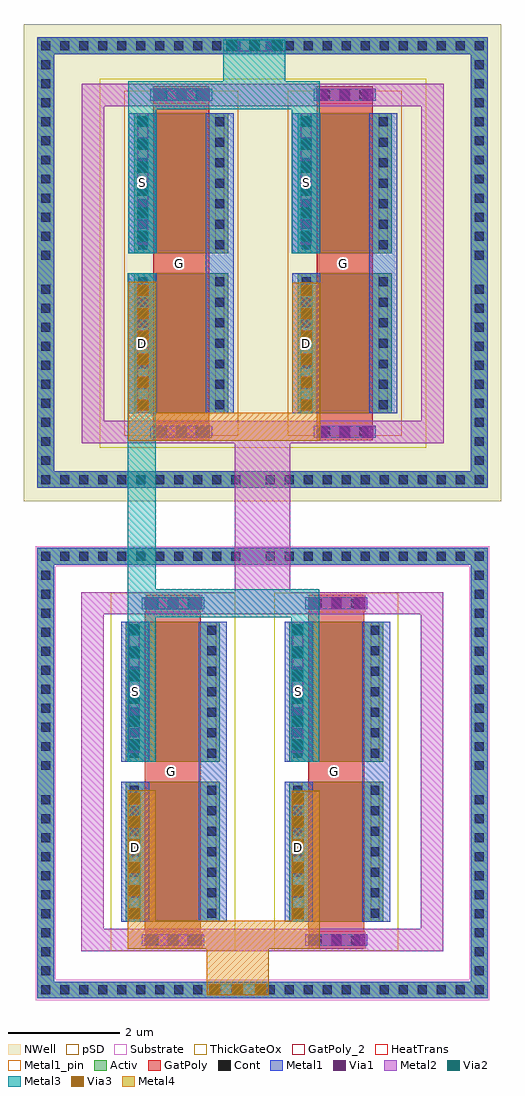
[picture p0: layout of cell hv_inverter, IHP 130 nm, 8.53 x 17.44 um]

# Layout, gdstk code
from math import pi, radians
import gdstk
lib = gdstk.Library(unit=1e-6, precision=1e-09)
def R(c, l, rs):  # rectangles x0, y0, x1, y1
    for r in rs: c.add(gdstk.rectangle(r[:2], r[2:], *l))
def A(c, l, x, y, w, h, nx, ny, dx, dy):  # array of equal rectangles
    R(c, l, [(x+i*dx, y+j*dy, x+i*dx+w, y+j*dy+h) for i in range(nx) for j in range(ny)])
def P(c, l, *ps):  # polygons
    for p in ps: c.add(gdstk.Polygon(p, *l))
Activ = (1, 0)
GatPoly = (5, 0)
GatPoly_2 = (5, 2)
Cont = (6, 0)
Metal1 = (8, 0)
Metal1_pin = (8, 2)
Metal2 = (10, 0)
pSD = (14, 0)
Via1 = (19, 0)
Via2 = (29, 0)
Metal3 = (30, 0)
NWell = (31, 0)
Substrate = (40, 0)
ThickGateOx = (44, 0)
Via3 = (49, 0)
Metal4 = (50, 0)
HeatTrans = (51, 0)

nmoshv = lib.new_cell('nmosHV')
R(nmoshv, Activ, [(0,0,0.3,0.3), (0,0,1.68,2.5), (1.38,0,1.68,0.3)])
R(nmoshv, GatPoly, [(0.34,-0.18,1.34,2.68)])
R(nmoshv, GatPoly_2, [(0.34,-0.18,1.34,2.68)])
A(nmoshv, Cont, 0.07, 0.07, 0.16, 0.16, 1, 3, 0, 0.365)
A(nmoshv, Cont, 1.45, 0.07, 0.16, 0.16, 1, 3, 0, 0.365)
A(nmoshv, Cont, 0.07, 1.17, 0.16, 0.16, 1, 3, 0, 0.365)
A(nmoshv, Cont, 1.45, 1.17, 0.16, 0.16, 1, 3, 0, 0.365)
R(nmoshv, Cont, [(0.07,2.27,0.23,2.43), (1.45,2.27,1.61,2.43)])
R(nmoshv, Metal1, [(0.07,0,0.23,2.5), (1.45,0,1.61,2.5)])
R(nmoshv, Metal1_pin, [(0.07,0,0.23,2.5), (1.45,0,1.61,2.5)])
R(nmoshv, ThickGateOx, [(-0.27,-0.52,1.95,3.02)])
R(nmoshv, HeatTrans, [(0.34,-0.18,1.34,2.68)])
nmoshv.add(gdstk.Label('nmosHV', (0.84,1.25), layer=63, texttype=0))
nmoshv.add(gdstk.Label('nmosHV', (0.84,1.25), layer=51, texttype=0))

guard_ring_4 = lib.new_cell('guard_ring$4')
R(guard_ring_4, Activ, [(-4.025,-3.725,-3.725,3.725), (3.725,-3.725,4.025,3.725), (-4.025,3.725,4.025,4.025)])
P(guard_ring_4, Activ, [(-4.025,-4.025),(-4.025,3.725),(-3.725,3.725),(-3.725,-3.725),(3.725,-3.725),(3.725,3.725),(-4.025,3.725),(-4.025,4.025),(4.025,4.025),(4.025,-4.025)])
A(guard_ring_4, Cont, -3.955, -3.955, 0.16, 0.16, 11, 2, 0.34, 7.75)
A(guard_ring_4, Cont, 0.055, -3.955, 0.16, 0.16, 12, 2, 0.34, 7.75)
A(guard_ring_4, Cont, -3.955, -3.615, 0.16, 0.16, 1, 10, 0, 0.34)
A(guard_ring_4, Cont, 3.795, -3.615, 0.16, 0.16, 1, 10, 0, 0.34)
A(guard_ring_4, Cont, -3.955, 0.055, 0.16, 0.16, 1, 11, 0, 0.34)
A(guard_ring_4, Cont, 3.795, 0.055, 0.16, 0.16, 1, 11, 0, 0.34)
R(guard_ring_4, Metal1, [(-4.025,-4.025,4.025,-3.725), (-4.025,-3.725,-3.725,3.725), (3.725,-3.725,4.025,3.725), (-4.025,3.725,4.025,4.025)])
R(guard_ring_4, NWell, [(-4.265,-4.265,4.265,4.265)])
guard_ring_4.add(gdstk.Label('well', (0,-3.875), layer=63, texttype=0))

guard_ring_5 = lib.new_cell('guard_ring$5')
R(guard_ring_5, Activ, [(-4.025,-3.725,-3.725,3.725), (3.725,-3.725,4.025,3.725), (-4.025,3.725,4.025,4.025)])
P(guard_ring_5, Activ, [(-4.025,-4.025),(-4.025,3.725),(-3.725,3.725),(-3.725,-3.725),(3.725,-3.725),(3.725,3.725),(-4.025,3.725),(-4.025,4.025),(4.025,4.025),(4.025,-4.025)])
A(guard_ring_5, Cont, -3.955, -3.955, 0.16, 0.16, 11, 2, 0.34, 7.75)
A(guard_ring_5, Cont, 0.055, -3.955, 0.16, 0.16, 12, 2, 0.34, 7.75)
A(guard_ring_5, Cont, -3.955, -3.615, 0.16, 0.16, 1, 10, 0, 0.34)
A(guard_ring_5, Cont, 3.795, -3.615, 0.16, 0.16, 1, 10, 0, 0.34)
A(guard_ring_5, Cont, -3.955, 0.055, 0.16, 0.16, 1, 11, 0, 0.34)
A(guard_ring_5, Cont, 3.795, 0.055, 0.16, 0.16, 1, 11, 0, 0.34)
R(guard_ring_5, Metal1, [(-4.025,-4.025,4.025,-3.725), (-4.025,-3.725,-3.725,3.725), (3.725,-3.725,4.025,3.725), (-4.025,3.725,4.025,4.025)])
R(guard_ring_5, pSD, [(-4.055,-3.695,-3.695,3.695), (3.695,-3.695,4.055,3.695), (-4.055,3.695,4.055,4.055)])
P(guard_ring_5, pSD, [(-4.055,-4.055),(-4.055,3.695),(-3.695,3.695),(-3.695,-3.695),(3.695,-3.695),(3.695,3.695),(-4.055,3.695),(-4.055,4.055),(4.055,4.055),(4.055,-4.055)])
R(guard_ring_5, Substrate, [(-4.055,-3.695,-3.695,3.695), (3.695,-3.695,4.055,3.695), (-4.055,3.695,4.055,4.055)])
P(guard_ring_5, Substrate, [(-4.055,-4.055),(-4.055,3.695),(-3.695,3.695),(-3.695,-3.695),(3.695,-3.695),(3.695,3.695),(-4.055,3.695),(-4.055,4.055),(4.055,4.055),(4.055,-4.055)])
guard_ring_5.add(gdstk.Label('sub!', (0,-3.875), layer=63, texttype=0))

via_stack_11 = lib.new_cell('via_stack$11')
R(via_stack_11, Metal1, [(-0.555,-0.105,0.555,0.105)])
R(via_stack_11, Metal2, [(-0.555,-0.1,0.555,0.1)])
A(via_stack_11, Via1, -0.505, -0.095, 0.19, 0.19, 3, 1, 0.41, 0)
A(via_stack_11, Via2, -0.505, -0.095, 0.19, 0.19, 3, 1, 0.41, 0)
R(via_stack_11, Metal3, [(-0.555,-0.1,0.555,0.1)])

via_stack_12 = lib.new_cell('via_stack$12')
R(via_stack_12, Metal1, [(-0.555,-0.105,0.555,0.105)])
R(via_stack_12, Metal2, [(-0.555,-0.1,0.555,0.1)])
A(via_stack_12, Via1, -0.505, -0.095, 0.19, 0.19, 3, 1, 0.41, 0)
A(via_stack_12, Via2, -0.505, -0.095, 0.19, 0.19, 3, 1, 0.41, 0)
R(via_stack_12, Metal3, [(-0.555,-0.1,0.555,0.1)])
A(via_stack_12, Via3, -0.505, -0.095, 0.19, 0.19, 3, 1, 0.41, 0)
R(via_stack_12, Metal4, [(-0.555,-0.1,0.555,0.1)])

pmoshv = lib.new_cell('pmosHV')
R(pmoshv, Activ, [(0,0,0.3,0.3), (0,0,1.68,2.5), (1.38,0,1.68,0.3)])
R(pmoshv, GatPoly, [(0.34,-0.18,1.34,2.68)])
R(pmoshv, GatPoly_2, [(0.34,-0.18,1.34,2.68)])
A(pmoshv, Cont, 0.07, 0.07, 0.16, 0.16, 1, 3, 0, 0.365)
A(pmoshv, Cont, 1.45, 0.07, 0.16, 0.16, 1, 3, 0, 0.365)
A(pmoshv, Cont, 0.07, 1.17, 0.16, 0.16, 1, 3, 0, 0.365)
A(pmoshv, Cont, 1.45, 1.17, 0.16, 0.16, 1, 3, 0, 0.365)
R(pmoshv, Cont, [(0.07,2.27,0.23,2.43), (1.45,2.27,1.61,2.43)])
R(pmoshv, Metal1, [(0.07,0,0.23,2.5), (1.45,0,1.61,2.5)])
R(pmoshv, Metal1_pin, [(0.07,0,0.23,2.5), (1.45,0,1.61,2.5)])
R(pmoshv, pSD, [(-0.18,-0.4,1.86,2.9)])
R(pmoshv, NWell, [(-0.62,-0.62,2.3,3.12)])
R(pmoshv, ThickGateOx, [(-0.62,-0.62,2.3,3.12)])
R(pmoshv, HeatTrans, [(0.34,-0.18,1.34,2.68)])
pmoshv.add(gdstk.Label('pmosHV', (0.84,1.25), layer=63, texttype=0))
pmoshv.add(gdstk.Label('pmos', (0.84,1.25), layer=51, texttype=0))

via_stack = lib.new_cell('via_stack')
R(via_stack, Metal1, [(-0.105,-1.17,0.105,1.17)])
R(via_stack, Metal2, [(-0.1,-1.17,0.1,1.17)])
A(via_stack, Via1, -0.095, -1.12, 0.19, 0.19, 1, 6, 0, 0.41)
A(via_stack, Via2, -0.095, -1.12, 0.19, 0.19, 1, 6, 0, 0.41)
R(via_stack, Metal3, [(-0.1,-1.17,0.1,1.17)])

via_stack_17 = lib.new_cell('via_stack$17')
R(via_stack_17, Metal1, [(-0.105,-1.17,0.105,1.17)])
R(via_stack_17, Metal2, [(-0.1,-1.17,0.1,1.17)])
A(via_stack_17, Via1, -0.095, -1.12, 0.19, 0.19, 1, 6, 0, 0.41)
A(via_stack_17, Via2, -0.095, -1.12, 0.19, 0.19, 1, 6, 0, 0.41)
R(via_stack_17, Metal3, [(-0.1,-1.17,0.1,1.17)])
A(via_stack_17, Via3, -0.095, -1.12, 0.19, 0.19, 1, 6, 0, 0.41)
R(via_stack_17, Metal4, [(-0.1,-1.17,0.1,1.17)])

via_stack_2 = lib.new_cell('via_stack$2')
R(via_stack_2, GatPoly, [(-0.49,-0.15,0.49,0.15)])
A(via_stack_2, Cont, -0.42, -0.08, 0.16, 0.16, 3, 1, 0.34, 0)
R(via_stack_2, Metal1, [(-0.555,-0.105,0.555,0.105)])
R(via_stack_2, Metal2, [(-0.555,-0.1,0.555,0.1)])
A(via_stack_2, Via1, -0.505, -0.095, 0.19, 0.19, 3, 1, 0.41, 0)

hv_inverter = lib.new_cell('hv_inverter')
R(hv_inverter, GatPoly, [(18.965,5.99,18.975,6.29), (19.955,5.99,19.965,6.29), (21.885,5.99,21.895,6.29), (22.875,5.99,22.885,6.29), (18.965,12.01,18.975,12.31), (19.955,12.01,19.965,12.31), (21.885,12.01,21.895,12.31), (22.875,12.01,22.885,12.31), (19.095,15.075,19.105,15.375), (20.085,15.075,20.095,15.375), (22.015,15.075,22.025,15.375), (23.005,15.075,23.015,15.375), (19.095,21.095,19.105,21.395), (20.085,21.095,20.095,21.395), (22.015,21.095,22.025,21.395), (23.005,21.095,23.015,21.395)])
R(hv_inverter, GatPoly_2, [(19.355,9.085,19.485,9.215), (22.275,9.085,22.405,9.215), (19.505,18.17,19.635,18.3), (22.425,18.17,22.555,18.3)])
R(hv_inverter, Metal1_pin, [(18.71,7.735,18.84,7.865), (21.63,7.735,21.76,7.865), (18.71,10.52,18.84,10.65), (21.63,10.52,21.76,10.65), (18.84,16.74,18.97,16.87), (21.76,16.74,21.89,16.87), (18.84,19.605,18.97,19.735), (21.76,19.605,21.89,19.735)])
R(hv_inverter, Metal3, [(20.345,21.49,21.455,22.225)])
R(hv_inverter, Metal4, [(20.045,5.155,21.155,5.985)])
hv_inverter.add(gdstk.FlexPath([(18.775,6.47),(18.775,8.97)], 0.5, ends="flush", simple_path=True, layer=8, datatype=0))  # Metal1
hv_inverter.add(gdstk.FlexPath([(21.695,6.47),(21.695,8.97)], 0.5, ends="flush", simple_path=True, layer=8, datatype=0))  # Metal1
hv_inverter.add(gdstk.FlexPath([(18.775,9.33),(18.775,11.83)], 0.5, ends="flush", simple_path=True, layer=8, datatype=0))  # Metal1
hv_inverter.add(gdstk.FlexPath([(21.695,9.33),(21.695,11.83)], 0.5, ends="flush", simple_path=True, layer=8, datatype=0))  # Metal1
hv_inverter.add(gdstk.FlexPath([(20.155,11.83),(20.155,6.47)], 0.5, ends="flush", simple_path=True, layer=8, datatype=0))  # Metal1
hv_inverter.add(gdstk.FlexPath([(23.075,11.83),(23.075,6.47)], 0.5, ends="flush", simple_path=True, layer=8, datatype=0))  # Metal1
hv_inverter.add(gdstk.FlexPath([(21.825,18.055),(21.825,15.555)], 0.5, ends="flush", simple_path=True, layer=8, datatype=0))  # Metal1
hv_inverter.add(gdstk.FlexPath([(18.905,18.055),(18.905,15.555)], 0.5, ends="flush", simple_path=True, layer=8, datatype=0))  # Metal1
hv_inverter.add(gdstk.FlexPath([(21.825,18.415),(21.825,20.915)], 0.5, ends="flush", simple_path=True, layer=8, datatype=0))  # Metal1
hv_inverter.add(gdstk.FlexPath([(18.905,18.415),(18.905,20.915)], 0.5, ends="flush", simple_path=True, layer=8, datatype=0))  # Metal1
hv_inverter.add(gdstk.FlexPath([(23.205,20.915),(23.205,15.555),(23.205,15.555)], 0.5, ends="flush", simple_path=True, layer=8, datatype=0))  # Metal1
hv_inverter.add(gdstk.FlexPath([(20.285,20.915),(20.285,15.555),(20.285,15.555)], 0.5, ends="flush", simple_path=True, layer=8, datatype=0))  # Metal1
hv_inverter.add(gdstk.FlexPath([(21.045,15.22),(21.045,12.16)], 1, ends="flush", simple_path=True, layer=10, datatype=0))  # Metal2
hv_inverter.add(gdstk.FlexPath([(19.025,6.14),(23.055,6.14)], 0.4, ends="flush", simple_path=True, layer=10, datatype=0))  # Metal2
hv_inverter.add(gdstk.FlexPath([(19.025,12.16),(23.055,12.16)], 0.4, ends="flush", simple_path=True, layer=10, datatype=0))  # Metal2
hv_inverter.add(gdstk.FlexPath([(23.055,12.16),(24.075,12.16),(24.075,6.14),(23.055,6.14)], 0.4, ends="flush", simple_path=True, layer=10, datatype=0))  # Metal2
hv_inverter.add(gdstk.FlexPath([(19.025,12.16),(18.005,12.16),(18.005,6.14),(19.025,6.14)], 0.4, ends="flush", simple_path=True, layer=10, datatype=0))  # Metal2
hv_inverter.add(gdstk.FlexPath([(19.035,15.22),(23.065,15.22)], 0.4, ends="flush", simple_path=True, layer=10, datatype=0))  # Metal2
hv_inverter.add(gdstk.FlexPath([(19.035,21.24),(23.065,21.24)], 0.4, ends="flush", simple_path=True, layer=10, datatype=0))  # Metal2
hv_inverter.add(gdstk.FlexPath([(23.065,21.24),(24.085,21.24),(24.085,15.22),(23.065,15.22)], 0.4, ends="flush", simple_path=True, layer=10, datatype=0))  # Metal2
hv_inverter.add(gdstk.FlexPath([(19.035,21.24),(18.015,21.24),(18.015,15.22),(19.035,15.22)], 0.4, ends="flush", simple_path=True, layer=10, datatype=0))  # Metal2
hv_inverter.add(gdstk.FlexPath([(18.89,18.055),(18.89,9.33)], 0.5, ends="flush", simple_path=True, layer=30, datatype=0))  # Metal3
hv_inverter.add(gdstk.FlexPath([(18.89,9.33),(18.89,12.16),(21.04,12.16),(21.04,12.16)], 0.5, ends="flush", simple_path=True, layer=30, datatype=0))  # Metal3
hv_inverter.add(gdstk.FlexPath([(21.04,12.16),(21.81,12.16),(21.81,9.33)], 0.5, ends="flush", simple_path=True, layer=30, datatype=0))  # Metal3
hv_inverter.add(gdstk.FlexPath([(18.9,18.41),(18.9,21.24),(21.05,21.24),(21.05,21.24)], 0.5, ends="flush", simple_path=True, layer=30, datatype=0))  # Metal3
hv_inverter.add(gdstk.FlexPath([(21.05,21.24),(21.82,21.24),(21.82,18.41)], 0.5, ends="flush", simple_path=True, layer=30, datatype=0))  # Metal3
hv_inverter.add(gdstk.FlexPath([(21.815,8.81),(21.815,6.235),(18.89,6.235),(18.89,8.82)], 0.5, ends="flush", simple_path=True, layer=50, datatype=0))  # Metal4
hv_inverter.add(gdstk.FlexPath([(21.825,17.89),(21.825,15.315),(18.9,15.315),(18.9,17.9)], 0.5, ends="flush", simple_path=True, layer=50, datatype=0))  # Metal4
hv_inverter.add(gdstk.Reference(nmoshv, (21.525,6.47)))
hv_inverter.add(gdstk.Reference(guard_ring_4, (21.045,18.245)))
hv_inverter.add(gdstk.Reference(guard_ring_5, (21.045,9.125)))
hv_inverter.add(gdstk.Reference(via_stack_11, (20.9,22.125)))
hv_inverter.add(gdstk.Reference(via_stack_12, (20.6,5.255)))
hv_inverter.add(gdstk.Reference(pmoshv, (18.755,18.415)))
hv_inverter.add(gdstk.Reference(pmoshv, (18.755,15.555)))
hv_inverter.add(gdstk.Reference(via_stack, (18.905,19.745)))
hv_inverter.add(gdstk.Reference(via_stack_17, (18.91,16.725)))
hv_inverter.add(gdstk.Reference(via_stack_2, (19.595,21.245), rotation=pi))
hv_inverter.add(gdstk.Reference(via_stack_2, (19.595,15.225), rotation=pi))
hv_inverter.add(gdstk.Reference(nmoshv, (21.525,9.33)))
hv_inverter.add(gdstk.Reference(via_stack, (21.675,10.66)))
hv_inverter.add(gdstk.Reference(via_stack_17, (21.68,7.64)))
hv_inverter.add(gdstk.Reference(via_stack_2, (22.365,12.16), rotation=pi))
hv_inverter.add(gdstk.Reference(via_stack_2, (22.365,6.14), rotation=pi))
hv_inverter.add(gdstk.Reference(nmoshv, (18.605,9.33)))
hv_inverter.add(gdstk.Reference(nmoshv, (18.605,6.47)))
hv_inverter.add(gdstk.Reference(via_stack, (18.755,10.66)))
hv_inverter.add(gdstk.Reference(via_stack_17, (18.76,7.64)))
hv_inverter.add(gdstk.Reference(via_stack_2, (19.445,12.16), rotation=pi))
hv_inverter.add(gdstk.Reference(via_stack_2, (19.445,6.14), rotation=pi))
hv_inverter.add(gdstk.Reference(pmoshv, (21.675,18.415)))
hv_inverter.add(gdstk.Reference(pmoshv, (21.675,15.555)))
hv_inverter.add(gdstk.Reference(via_stack, (21.825,19.745)))
hv_inverter.add(gdstk.Reference(via_stack_17, (21.83,16.725)))
hv_inverter.add(gdstk.Reference(via_stack_2, (22.515,21.245), rotation=pi))
hv_inverter.add(gdstk.Reference(via_stack_2, (22.515,15.225), rotation=pi))
hv_inverter.add(gdstk.Label('S', (18.775,10.585), layer=8, texttype=25))
hv_inverter.add(gdstk.Label('S', (21.695,10.585), layer=8, texttype=25))
hv_inverter.add(gdstk.Label('D', (18.775,7.8), layer=8, texttype=25))
hv_inverter.add(gdstk.Label('D', (21.695,7.8), layer=8, texttype=25))
hv_inverter.add(gdstk.Label('D', (21.825,16.805), layer=8, texttype=25))
hv_inverter.add(gdstk.Label('D', (18.905,16.805), layer=8, texttype=25))
hv_inverter.add(gdstk.Label('S', (21.825,19.67), layer=8, texttype=25))
hv_inverter.add(gdstk.Label('S', (18.905,19.67), layer=8, texttype=25))
hv_inverter.add(gdstk.Label('G', (22.49,18.235), layer=5, texttype=1))
hv_inverter.add(gdstk.Label('G', (19.57,18.235), layer=5, texttype=1))
hv_inverter.add(gdstk.Label('G', (19.42,9.15), layer=5, texttype=1))
hv_inverter.add(gdstk.Label('G', (22.34,9.15), layer=5, texttype=1))

lib.write_gds('hv_inverter.gds')
